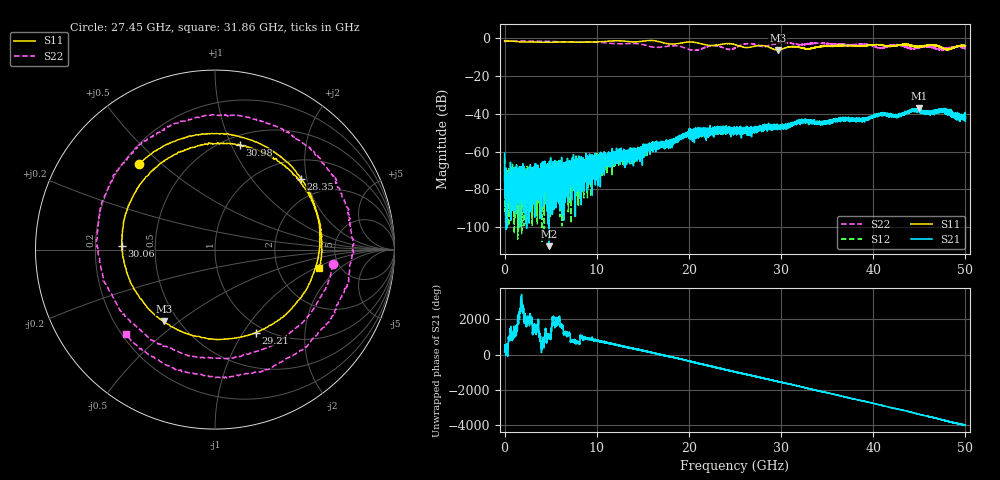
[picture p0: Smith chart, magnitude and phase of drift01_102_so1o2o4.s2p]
!Created with skrf (http://scikit-rf.org).
# Hz S RI R 50.0
!freq ReS11 ImS11 ReS21 ImS21 ReS12 ImS12 ReS22 ImS22
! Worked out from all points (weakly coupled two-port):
!   10001 points, 300 kHz to 50 GHz, reference 50 ohm
!   highest |S21| = -36.88 dB at 44.95 GHz (marker M1); lowest = -110.0 dB at 4.82 GHz (marker M2)
!   lowest |S11| = -6.2 dB at 29.64 GHz (marker M3), VSWR 2.93, Z = 21 - j22.1 ohm
!   |S11| at or under -10 dB: nowhere
!   |S22| runs from -6.5 to -1.4 dB; largest |S21 - S12| = 0.004
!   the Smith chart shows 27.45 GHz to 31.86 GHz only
!   S11 on the Smith chart (normalised r, x): 27.45 GHz: 0.26, +0.42; 28.35 GHz: 1.44, +1.85; 29.21 GHz: 0.91, -1.14; 30.06 GHz: 0.31, +0.02; 30.98 GHz: 0.59, +1.08; 31.86 GHz: 3.48, -1.11
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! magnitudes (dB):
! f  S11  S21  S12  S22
! 300 kHz  -1.3  -60.8  -63.6  -2.1
! 270.3 MHz  -1.4  -89.7  -78.4  -1.4
! 4.82 GHz  -2.1  -110.0  -83.0  -1.6
! 7.835 GHz  -2.0  -74.4  -65.9  -1.8
! 8.335 GHz  -2.0  -71.4  -67.2  -1.8
! 10.53 GHz  -1.7  -66.4  -62.8  -2.2
! 16.67 GHz  -1.6  -56.4  -55.8  -4.8
! 20.12 GHz  -1.9  -50.2  -49.1  -6.0
! 22.62 GHz  -3.8  -51.7  -49.4  -3.8
! 25 GHz  -3.3  -48.0  -50.0  -5.1
! 27.45 GHz  -3.9  -47.5  -48.2  -3.6
! 28.35 GHz  -4.1  -47.2  -47.3  -4.2
! 29.21 GHz  -5.8  -47.6  -47.4  -3.0
! 29.64 GHz  -6.2  -47.0  -47.7  -2.5
! 30.06 GHz  -5.7  -47.0  -47.1  -2.3
! 30.98 GHz  -4.4  -46.2  -45.9  -2.5
! 31.86 GHz  -4.6  -44.4  -44.3  -3.3
! 33.34 GHz  -5.2  -44.2  -44.5  -2.6
! 41.67 GHz  -4.3  -40.9  -40.8  -4.0
! 44.95 GHz  -4.3  -36.9  -38.5  -4.9
! 47.75 GHz  -5.4  -39.0  -38.9  -5.4
! 50 GHz  -3.9  -42.0  -41.1  -5.4
